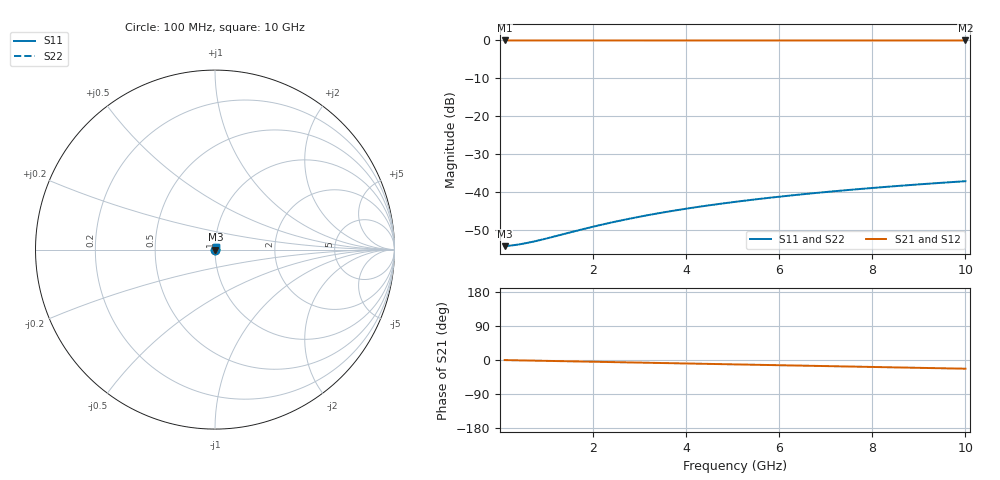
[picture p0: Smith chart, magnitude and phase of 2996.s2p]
# Hz S RI R 50.00
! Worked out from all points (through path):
!   100 points, 100 MHz to 10 GHz, reference 50 ohm
!   highest |S21| = -0.02 dB at 100 MHz (marker M1); lowest = 0.0 dB at 10 GHz (marker M2)
!   group delay of S21, straight-line fit = 6.38 ps
!   lowest |S11| = -54.3 dB at 100 MHz (marker M3), VSWR 1.00, Z = 50.2 + j0.0137 ohm
!   |S11| at or under -10 dB: start of sweep to end of sweep
!   |S22| runs from -54.3 to -37.2 dB; largest |S21 - S12| = 0
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1e8  0.00192 0.000136  0.9981 -0.00399  0.9981 -0.00399  0.00192 0.000136
3e8  0.00195 0.000408  0.998 -0.012  0.998 -0.012  0.00195 0.000408
4e8  0.00196 0.000543  0.9979 -0.0159  0.9979 -0.0159  0.00196 0.000543
5e8  0.00197 0.000679  0.9978 -0.0199  0.9978 -0.0199  0.00197 0.000679
7e8  0.00199 0.00095  0.9976 -0.0279  0.9976 -0.0279  0.00199 0.00095
1e9  0.00203 0.00136  0.9972 -0.0399  0.9972 -0.0399  0.00203 0.00136
1.8e9  0.00216 0.00243  0.9954 -0.0717  0.9954 -0.0717  0.00216 0.00243
2.2e9  0.00225 0.00296  0.9941 -0.0876  0.9941 -0.0876  0.00225 0.00296
2.6e9  0.00236 0.00349  0.9925 -0.1035  0.9925 -0.1035  0.00236 0.00349
3e9  0.00249 0.00401  0.9907 -0.1194  0.9907 -0.1194  0.00249 0.00401
3.4e9  0.00263 0.00453  0.9887 -0.1352  0.9887 -0.1352  0.00263 0.00453
3.8e9  0.00279 0.00504  0.9863 -0.151  0.9863 -0.151  0.00279 0.00504
4.2e9  0.00296 0.00554  0.9838 -0.1668  0.9838 -0.1668  0.00296 0.00554
4.6e9  0.00315 0.00604  0.981 -0.1826  0.981 -0.1826  0.00315 0.00604
5.1e9  0.00341 0.00665  0.9771 -0.2022  0.9771 -0.2022  0.00341 0.00665
5.5e9  0.00364 0.00713  0.9737 -0.2178  0.9737 -0.2178  0.00364 0.00713
5.9e9  0.00388 0.0076  0.9701 -0.2334  0.9701 -0.2334  0.00388 0.0076
6.7e9  0.00441 0.00852  0.962 -0.2644  0.962 -0.2644  0.00441 0.00852
7.5e9  0.00499 0.0094  0.953 -0.2952  0.953 -0.2952  0.00499 0.0094
8.4e9  0.00572 0.0103  0.9416 -0.3295  0.9416 -0.3295  0.00572 0.0103
9.2e9  0.00643 0.0111  0.9305 -0.3596  0.9305 -0.3596  0.00643 0.0111
1e10  0.00718 0.0119  0.9183 -0.3894  0.9183 -0.3894  0.00718 0.0119
